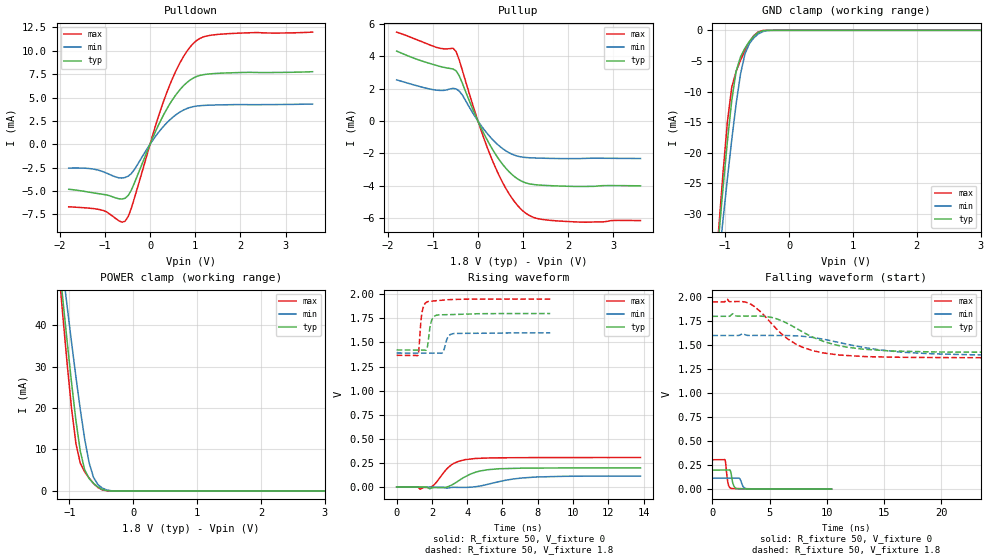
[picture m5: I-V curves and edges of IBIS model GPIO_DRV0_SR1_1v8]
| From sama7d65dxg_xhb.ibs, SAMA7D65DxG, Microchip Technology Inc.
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|   Model   GPIO_DRV0_SR1
[Model] GPIO_DRV0_SR1_1v8
Model_type I/O
Enable   Active-High
Vinl  =  0.585
Vinh  =  1.365
Vmeas =  0.975
| Capacitance   typ   min   max
C_comp   2.41728391654022e-12   2.38962941336373e-12   2.45515367317009e-12
[Model Spec]
| Subparameter   typ   min   max
Vinl   0.54   0.48   0.585
Vinh   1.26   1.12   1.365
Vmeas   0.9   0.8   0.975
| Variables   typ   min   max
[GND Clamp Reference]   0   0   0
[POWER Clamp Reference]   1.8   1.6   1.95
[Pulldown Reference]   0   0   0
[Pullup Reference]   1.8   1.6   1.95
[Temperature Range]   25   125   -40
[Voltage Range]   1.8   1.6   1.95
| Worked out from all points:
|   slope of the pulldown table from 0 to 0.27 V, typ, clamps not added: 94.2 ohm
|   slope of the pullup table from 0 to 0.27 V, typ, clamps not added: 181 ohm
|   GND clamp passes 1 mA (typ) near -0.56 V on its own axis
|   POWER clamp passes 1 mA (typ) near -0.56 V on its own axis
|   falling waveform, R_fixture 50, V_fixture 0: 20-80 % time 216ps typ, 244ps min, 185ps max; typ from 0.199 V to 0.001 V
|   falling waveform, R_fixture 50, V_fixture 1.8: 20-80 % time 4.33ns typ, 6.08ns min, 3.45ns max; typ from 1.8 V to 1.42 V
|   rising waveform, R_fixture 50, V_fixture 0: 20-80 % time 1.28ns typ, 1.94ns min, 937ps max; typ from 0 V to 0.199 V
|   rising waveform, R_fixture 50, V_fixture 1.8: 20-80 % time 195ps typ, 222ps min, 182ps max; typ from 1.42 V to 1.8 V
[GND Clamp]
| Voltage   I(typ)   I(min)   I(max)
-1.8V     -124mA     -113.1mA   -138.2mA
-1.103V   -34.1mA    -38.11mA   -32.84mA
-1.034V   -25.94mA   -31.12mA   -23.44mA
-965.5mV  -18.25mA   -24.33mA   -15.06mA
-896.6mV  -11.47mA   -17.89mA   -9.313mA
-827.6mV  -6.669mA   -12mA      -6.712mA
-758.6mV  -4.323mA   -7.104mA   -4.878mA
-689.7mV  -2.915mA   -3.856mA   -3.266mA
-620.7mV  -1.803mA   -2.187mA   -1.898mA
-482.8mV  -356.8uA   -601.5uA   -260uA
-275.9mV  -775.2nA   -9.069uA   -225.6nA
3.6V      0A         0A         0A
[POWER Clamp]
| Voltage   I(typ)   I(min)   I(max)
-1.8V     159mA      147.7mA    172.7mA
-1.172V   57.23mA    62.56mA    54.88mA
-1.103V   46.56mA    53.53mA    42.64mA
-1.034V   36.17mA    44.64mA    30.86mA
-965.5mV  26.2mA     35.95mA    20mA
-896.6mV  17.03mA    27.55mA    11.43mA
-827.6mV  9.546mA    19.61mA    6.684mA
-758.6mV  5.067mA    12.48mA    4.593mA
-689.7mV  3.011mA    6.794mA    3.083mA
-551.7mV  933.7uA    1.528mA    827.2uA
-275.9mV  829.8nA    10.83uA    219.8nA
3.6V      0A         0A         0A
[Pulldown]
| Voltage   I(typ)   I(min)   I(max)
-1.8V     -4.806mA   -2.539mA   -6.683mA
-1.103V   -5.301mA   -2.82mA    -6.989mA
-689.7mV  -5.822mA   -3.584mA   -8.182mA
-551.7mV  -5.766mA   -3.547mA   -8.22mA
-482.8mV  -5.47mA    -3.403mA   -7.718mA
-413.8mV  -4.9mA     -3.129mA   -6.83mA
124.1mV   1.4mA      868.2uA    2.028mA
434.5mV   4.293mA    2.595mA    6.313mA
744.8mV   6.281mA    3.674mA    9.41mA
1.055V    7.297mA    4.105mA    11.18mA
1.676V    7.629mA    4.23mA     11.82mA
3.6V      7.768mA    4.311mA    12mA
[Pullup]
| Voltage   I(typ)   I(min)   I(max)
-1.8V     4.314mA    2.538mA    5.484mA
-965.5mV  3.467mA    1.923mA    4.587mA
-551.7mV  3.208mA    2.012mA    4.49mA
-482.8mV  3.097mA    1.979mA    4.278mA
-344.8mV  2.33mA     1.602mA    3.125mA
62.07mV   -373.5uA   -247.8uA   -513.4uA
372.4mV   -1.975mA   -1.282mA   -2.772mA
744.8mV   -3.277mA   -2.033mA   -4.725mA
1.055V    -3.811mA   -2.249mA   -5.678mA
1.303V    -3.937mA   -2.284mA   -6.004mA
1.8V      -4.008mA   -2.315mA   -6.169mA
3.6V      -3.997mA   -2.313mA   -6.143mA
[Ramp]
dV/dt_r   0.119597/1.28548n  68.929m/1.97307n  0.184101/0.941122n
dV/dt_f   0.226999/4.38791n  0.125911/6.21534n  0.350306/3.46637n
R_load = 50
[Falling Waveform]
R_fixture = 50
V_fixture = 0
V_fixture_min = 0
V_fixture_max = 0
| Time   V(typ)   V(min)   V(max)
0s        199.3mV    114.9mV    306.8mV
1.094ns   200.1mV    115.4mV    307.2mV
1.363ns   200.3mV    115.5mV    66.19mV
1.616ns   175mV      115.6mV    9.748mV
1.839ns   45.94mV    115.7mV    6.663mV
2.168ns   5.418mV    115.8mV    6.438mV
2.403ns   4.013mV    108mV      6.278mV
2.749ns   3.948mV    19.37mV    5.956mV
3.096ns   3.882mV    2.203mV    5.441mV
10.42ns   749uV      1.038mV    657uV
[Falling Waveform]
R_fixture = 50
V_fixture = 1.8
V_fixture_min = 1.6
V_fixture_max = 1.95
| Time   V(typ)   V(min)   V(max)
0s        1.8V       1.6V       1.95V
1.261ns   1.799V     1.599V     1.979V
3.203ns   1.803V     1.6V       1.936V
4.977ns   1.793V     1.601V     1.75V
6.526ns   1.727V     1.6V       1.57V
7.861ns   1.639V     1.592V     1.479V
9.66ns    1.541V     1.562V     1.419V
13.12ns   1.458V     1.478V     1.382V
17.49ns   1.434V     1.42V      1.372V
33.13ns   1.423V     1.393V     1.367V
[Rising Waveform]
R_fixture = 50
V_fixture = 0
V_fixture_min = 0
V_fixture_max = 0
| Time   V(typ)   V(min)   V(max)
0s        26.99nV    187.7nV    28.47nV
1.192ns   -689.1uV   -325.6uV   -81.2uV
1.332ns   -770.3uV   -364uV     -22.15mV
1.949ns   -12.83mV   -532.6uV   229.2uV
3.106ns   19.13mV    -4.065mV   229.9mV
3.869ns   104.8mV    -4.273mV   283.6mV
4.698ns   165mV      9.658mV    297.8mV
5.801ns   189.7mV    55.77mV    303.2mV
7.942ns   196.9mV    104.3mV    305.5mV
13.83ns   198.8mV    114mV      306.1mV
[Rising Waveform]
R_fixture = 50
V_fixture = 1.8
V_fixture_min = 1.6
V_fixture_max = 1.95
| Time   V(typ)   V(min)   V(max)
0s        1.422V     1.39V      1.366V
1.208ns   1.421V     1.39V      1.366V
1.453ns   1.421V     1.39V      1.822V
1.779ns   1.492V     1.39V      1.924V
1.966ns   1.718V     1.39V      1.928V
2.279ns   1.783V     1.39V      1.933V
2.595ns   1.787V     1.393V     1.938V
2.908ns   1.787V     1.555V     1.943V
3.193ns   1.789V     1.591V     1.945V
8.711ns   1.8V       1.6V       1.949V
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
